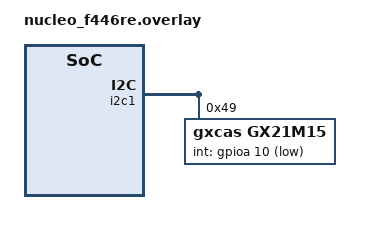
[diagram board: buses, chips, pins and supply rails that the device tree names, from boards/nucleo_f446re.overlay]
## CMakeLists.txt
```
# SPDX-License-Identifier: Apache-2.0

cmake_minimum_required(VERSION 3.20.0)

find_package(Zephyr REQUIRED HINTS $ENV{ZEPHYR_BASE})
project(gx21m15)

FILE(GLOB app_sources src/*.c)
target_sources(app PRIVATE ${app_sources})
```

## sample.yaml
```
sample:
  name: GX21M15 Temperature Sensor
  description: GX21M15 Temperature Sensor driver demo
tests:
  sample.sensor.gx21m15:
    harness: sensor
    tags: sensors
    depends_on: i2c
    filter: dt_compat_enabled("gxcas,gx21m15")
    integration_platforms:
      - nucleo_f446re
```

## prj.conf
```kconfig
CONFIG_SENSOR=y
CONFIG_GX21M15=y
CONFIG_I2C=y
CONFIG_CBPRINTF_FP_SUPPORT=y
CONFIG_LOG=y
CONFIG_SENSOR_LOG_LEVEL_DBG=y
```

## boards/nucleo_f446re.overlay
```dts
/*
 * Copyright (c) 2025 Aaron Chan
 *
 * SPDX-License-Identifier: Apache-2.0
 */

&i2c1 {
	status = "okay";

	gx21m15@49 {
		compatible = "gxcas,gx21m15";
		reg = <0x49>;
		int-gpios = <&gpioa 10 (GPIO_PULL_UP | GPIO_ACTIVE_LOW)>;
	};
};
```

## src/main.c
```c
/*
 * Copyright (c) 2025 GXCAS
 *
 * SPDX-License-Identifier: Apache-2.0
 */

#include <zephyr/kernel.h>
#include <zephyr/device.h>
#include <zephyr/drivers/sensor.h>
#include <zephyr/sys/printk.h>

#define SLEEP_TIME_MS   1000

static void process_sample(const struct device *dev)
{
	static unsigned int count;
	struct sensor_value temp;
	int rc;

	rc = sensor_sample_fetch(dev);
	if (rc) {
		printk("Sensor sample fetch error: %d\n", rc);
		return;
	}

	rc = sensor_channel_get(dev, SENSOR_CHAN_AMBIENT_TEMP, &temp);
	if (rc) {
		printk("Sensor channel get error: %d\n", rc);
		return;
	}

	printk("[%u] Temperature: %.2f °C\n", ++count, 
	       (double)temp.val1 + (double)temp.val2 / 1000000.0);
}

int main(void)
{
	const struct device *const dev = DEVICE_DT_GET_ANY(gxcas_gx21m15);

	if (!dev) {
		printk("No GX21M15 device found.\n");
		return 0;
	}

	if (!device_is_ready(dev)) {
		printk("GX21M15 device %s is not ready\n", dev->name);
		return 0;
	}

	printk("Found device \"%s\", getting temperature samples\n", dev->name);

	while (1) {
		process_sample(dev);
		k_sleep(K_MSEC(SLEEP_TIME_MS));
	}

	return 0;
}
```
